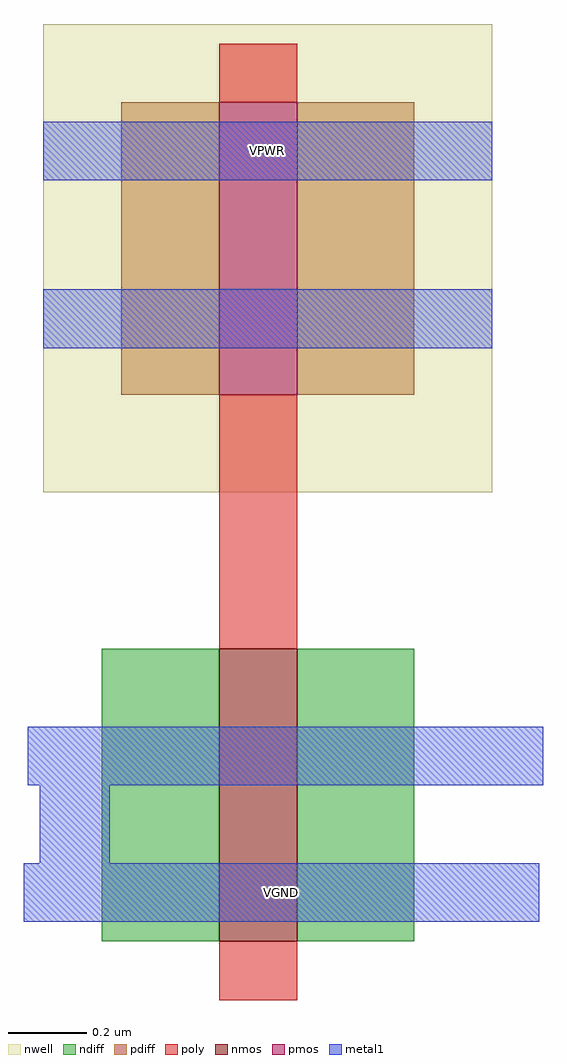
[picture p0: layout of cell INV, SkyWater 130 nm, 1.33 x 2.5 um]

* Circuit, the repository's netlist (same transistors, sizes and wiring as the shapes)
* SPICE3 file created from INV.ext - technology: sky130A

X0 a_80_180# a_40_n130# a_n10_180# w_n50_130# sky130_fd_pr__pfet_01v8 ad=0.225 pd=2.1 as=0.1875 ps=2 w=0.75 l=0.2
X1 a_80_n100# a_40_n130# a_n20_n100# VSUBS sky130_fd_pr__nfet_01v8 ad=0.225 pd=2.1 as=0.225 ps=2.1 w=0.75 l=0.2

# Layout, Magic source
magic
tech sky130A
<< nwell >>
rect -25 65 90 185
<< nmos >>
rect 20 -50 40 25
<< pmos >>
rect 20 90 40 165
<< ndiff >>
rect -10 -50 20 25
rect 40 -50 70 25
<< pdiff >>
rect -5 90 20 165
rect 40 90 70 165
<< poly >>
rect 20 165 40 180
rect 20 25 40 90
rect 20 -65 40 -50
<< metal1 >>
rect -25 145 90 160
rect -25 102 90 117
rect -29 -10 103 5
rect -26 -30 -8 -10
rect -30 -45 102 -30
<< labels >>
rlabel metal1 -30 -45 102 -30 1 VGND
rlabel metal1 -25 145 90 160 1 VPWR
<< end >>
